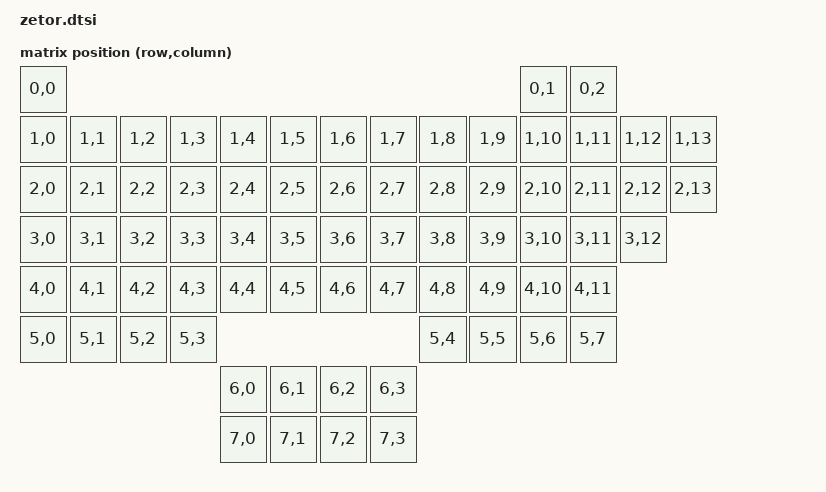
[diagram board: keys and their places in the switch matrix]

#include <dt-bindings/zmk/matrix_transform.h>

#include "zetor_layouts.dtsi"

/ {
    kscan0: kscan_composite {
        compatible = "zmk,kscan-composite";
        columns = <14>;
        rows = <8>;
        matrix {
            kscan = <&kscan1>;
        };
        direct {
            kscan = <&kscan2>;
            row-offset = <7>; // ...and shift it to not overlap
        };
    };
 
    chosen {
        zmk,kscan = &kscan0;
        zmk,matrix_transform = &default_transform;
        zephyr,display = &oled;
        //zmk,physical-layout = &kata0510_zetor_layout;
    };

    default_transform: matrix_transform {
        compatible = "zmk,matrix-transform";
        columns = <14>;
        rows = <8>;
        map = <
            RC(0,0)                                                                                         RC(0,1)  RC(0,2)
            RC(1,0) RC(1,1) RC(1,2) RC(1,3) RC(1,4) RC(1,5)                 RC(1,6) RC(1,7) RC(1,8) RC(1,9) RC(1,10) RC(1,11) RC(1,12) RC(1,13)
            RC(2,0) RC(2,1) RC(2,2) RC(2,3) RC(2,4) RC(2,5)                 RC(2,6) RC(2,7) RC(2,8) RC(2,9) RC(2,10) RC(2,11) RC(2,12) RC(2,13)
            RC(3,0) RC(3,1) RC(3,2) RC(3,3) RC(3,4) RC(3,5)                 RC(3,6) RC(3,7) RC(3,8) RC(3,9) RC(3,10) RC(3,11) RC(3,12)
            RC(4,0) RC(4,1) RC(4,2) RC(4,3) RC(4,4) RC(4,5)                 RC(4,6) RC(4,7) RC(4,8) RC(4,9) RC(4,10) RC(4,11) 
            RC(5,0) RC(5,1) RC(5,2) RC(5,3)                                                 RC(5,4) RC(5,5) RC(5,6) RC(5,7)
                                            RC(6,0) RC(6,1)                 RC(6,2) RC(6,3) 
                                            RC(7,0) RC(7,1)                 RC(7,2) RC(7,3)
        >;
    };

    kscan1: kscan_matrix {
        compatible = "zmk,kscan-gpio-matrix";
        wakeup-source;
        diode-direction = "col2row";
    };
    kscan2: kscan_direct {
        compatible = "zmk,kscan-gpio-matrix";
        wakeup-source;
        diode-direction = "col2row";
    };

};




&kata0510_zetor_layout {
    transform = <&default_transform>;
};

&pro_micro_i2c {
    status = "okay";
    oled: sh1106@3c {
        compatible = "sinowealth,sh1106";
        reg = <0x3c>;
        width = <128>;
        height = <64>;
        segment-offset = <0>;
        page-offset = <0>;
        display-offset = <0>;
        multiplex-ratio = <63>;
        segment-remap;
        com-invdir;
        com-sequential;
        inversion-on;
        prechargep = <0x22>;
        };
};
